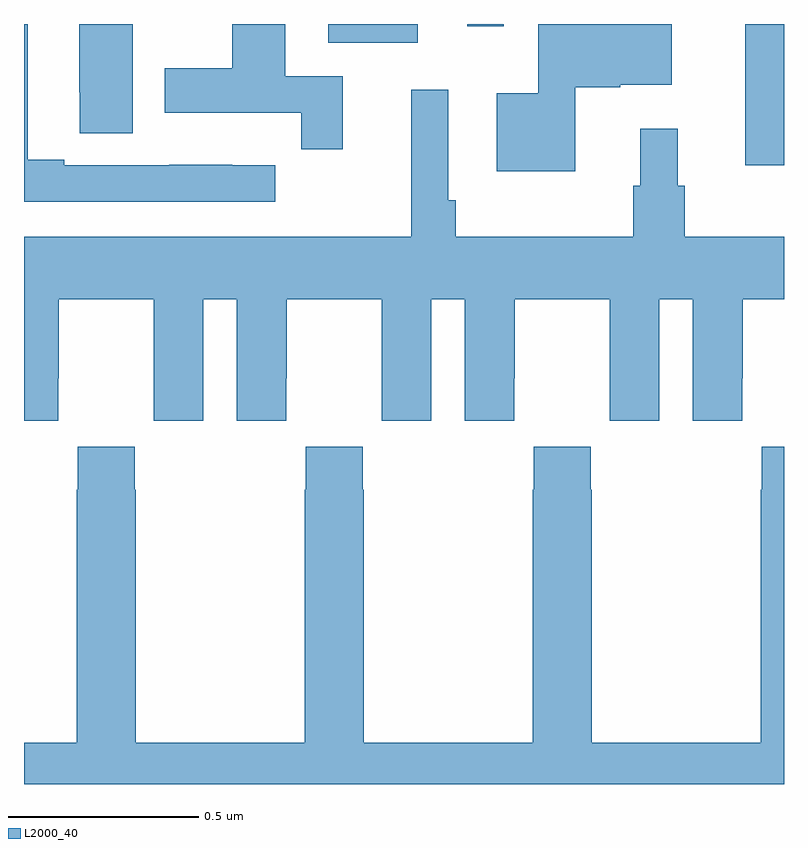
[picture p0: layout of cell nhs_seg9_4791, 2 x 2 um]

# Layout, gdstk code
import gdstk
lib = gdstk.Library(unit=1e-6, precision=1e-09)
def R(c, l, rs):  # rectangles x0, y0, x1, y1
    for r in rs: c.add(gdstk.rectangle(r[:2], r[2:], *l))
def P(c, l, *ps):  # polygons
    for p in ps: c.add(gdstk.Polygon(p, *l))
L2000_40 = (2000, 40)

nhs_seg9_4791 = lib.new_cell('nhs_seg9_4791')
R(nhs_seg9_4791, L2000_40, [(172.898,1174.128,173,1174.5), (171.8,1174.451,172.036,1174.5), (172.166,1174.494,172.263,1174.5)])
P(nhs_seg9_4791, L2000_40, [(171.661,1174.128),(171.548,1174.128),(171.548,1174.129),(171.382,1174.129),(171.382,1174.128),(171.106,1174.128),(171.106,1174.143),(171.01,1174.143),(171.01,1174.5),(171,1174.5),(171,1174.032),(171.661,1174.032)],
  [(171.839,1174.362),(171.688,1174.362),(171.688,1174.5),(171.548,1174.5),(171.548,1174.383),(171.371,1174.383),(171.371,1174.266),(171.73,1174.266),(171.73,1174.17),(171.839,1174.17)],
  [(171.286,1174.5),(171.146,1174.5),(171.146,1174.321),(171.147,1174.321),(171.147,1174.213),(171.286,1174.213)],
  [(172.45,1174.333),(172.569,1174.333),(172.569,1174.34),(172.705,1174.34),(172.705,1174.5),(172.353,1174.5),(172.353,1174.318),(172.244,1174.318),(172.244,1174.112),(172.45,1174.112)],
  [(171.09,1173.568),(171.091,1173.568),(171.091,1173.776),(171.341,1173.776),(171.341,1173.568),(171.342,1173.568),(171.342,1173.456),(171.472,1173.456),(171.472,1173.776),(171.56,1173.776),(171.56,1173.456),(171.69,1173.456),(171.69,1173.568),(171.691,1173.568),(171.691,1173.776),(171.941,1173.776),(171.941,1173.568),(171.942,1173.568),(171.942,1173.456),(172.072,1173.456),(172.072,1173.776),(172.16,1173.776),(172.16,1173.456),(172.29,1173.456),(172.29,1173.568),(172.291,1173.568),(172.291,1173.776),(172.541,1173.776),(172.541,1173.568),(172.542,1173.568),(172.542,1173.456),(172.672,1173.456),(172.672,1173.776),(172.76,1173.776),(172.76,1173.456),(172.89,1173.456),(172.89,1173.568),(172.891,1173.568),(172.891,1173.776),(173,1173.776),(173,1173.94),(172.739,1173.94),(172.739,1174.074),(172.72,1174.074),(172.72,1174.225),(172.622,1174.225),(172.622,1174.074),(172.603,1174.074),(172.603,1173.94),(172.136,1173.94),(172.136,1174.036),(172.116,1174.036),(172.116,1174.327),(172.019,1174.327),(172.019,1173.94),(171,1173.94),(171,1173.456),(171.09,1173.456)],
  [(173,1173.388),(172.941,1173.388),(172.941,1173.275),(172.939,1173.275),(172.939,1172.608),(172.494,1172.608),(172.494,1173.275),(172.491,1173.275),(172.491,1173.388),(172.341,1173.388),(172.341,1173.275),(172.339,1173.275),(172.339,1172.608),(171.894,1172.608),(171.894,1173.275),(171.891,1173.275),(171.891,1173.388),(171.741,1173.388),(171.741,1173.275),(171.739,1173.275),(171.739,1172.608),(171.294,1172.608),(171.294,1173.275),(171.291,1173.275),(171.291,1173.388),(171.141,1173.388),(171.141,1173.275),(171.139,1173.275),(171.139,1172.608),(171,1172.608),(171,1172.5),(173,1172.5)])

lib.write_gds('nhs_seg9_4791.gds')
